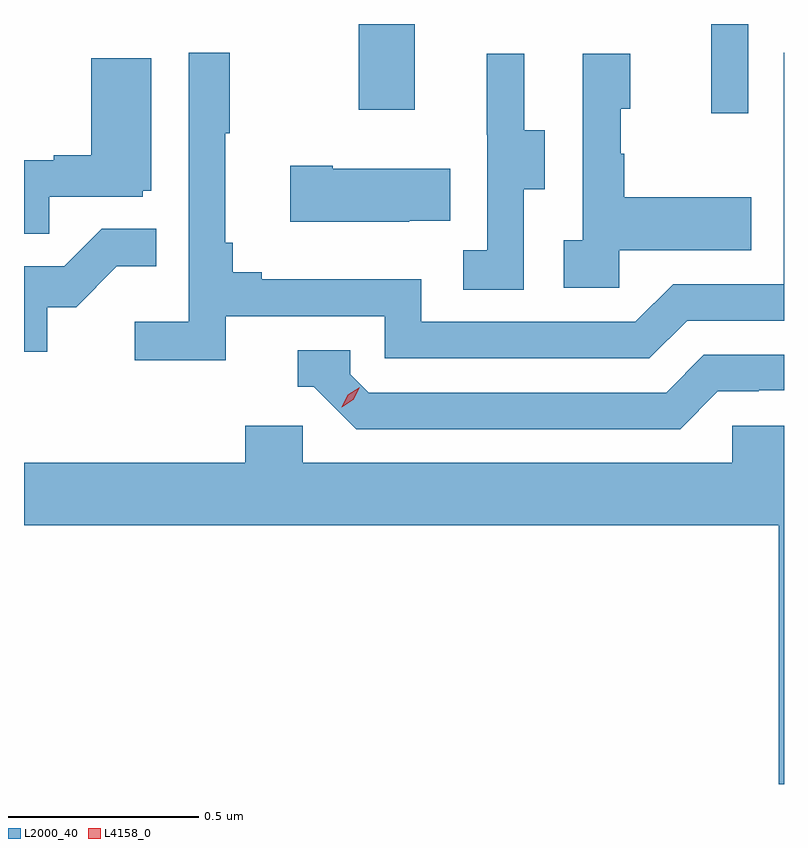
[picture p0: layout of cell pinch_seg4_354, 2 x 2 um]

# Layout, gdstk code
import gdstk
lib = gdstk.Library(unit=1e-6, precision=1e-09)
def R(c, l, rs):  # rectangles x0, y0, x1, y1
    for r in rs: c.add(gdstk.rectangle(r[:2], r[2:], *l))
def P(c, l, *ps):  # polygons
    for p in ps: c.add(gdstk.Polygon(p, *l))
L2000_40 = (2000, 40)
L4158_0 = (4158, 0)

pinch_seg4_354 = lib.new_cell('pinch_seg4_354')
R(pinch_seg4_354, L2000_40, [(1014.35,803.232,1014.447,803.467), (1013.422,803.241,1013.569,803.467)])
P(pinch_seg4_354, L2000_40, [(1013.072,802.698),(1013.49,802.698),(1013.49,802.587),(1014.187,802.587),(1014.286,802.686),(1014.541,802.686),(1014.541,803.391),(1014.54,803.391),(1014.54,802.782),(1014.249,802.782),(1014.15,802.683),(1013.586,802.683),(1013.586,802.795),(1013.167,802.795),(1013.167,802.814),(1013.09,802.814),(1013.09,802.891),(1013.071,802.891),(1013.071,803.179),(1013.083,803.179),(1013.083,803.392),(1012.974,803.392),(1012.974,802.684),(1012.833,802.684),(1012.833,802.582),(1013.072,802.582)],
  [(1014.108,802.871),(1014.455,802.871),(1014.455,803.011),(1014.121,803.011),(1014.121,803.126),(1014.111,803.126),(1014.111,803.244),(1014.136,803.244),(1014.136,803.389),(1014.012,803.389),(1014.012,802.898),(1013.961,802.898),(1013.961,802.773),(1014.108,802.773)],
  [(1013.856,803.032),(1013.911,803.032),(1013.911,803.187),(1013.857,803.187),(1013.857,803.389),(1013.759,803.389),(1013.759,803.175),(1013.76,803.175),(1013.76,802.871),(1013.697,802.871),(1013.697,802.768),(1013.856,802.768)],
  [(1012.607,803.013),(1012.854,803.013),(1012.854,803.028),(1012.876,803.028),(1012.876,803.377),(1012.718,803.377),(1012.718,803.122),(1012.619,803.122),(1012.619,803.109),(1012.541,803.109),(1012.541,802.915),(1012.607,802.915)],
  [(1013.555,802.949),(1013.663,802.949),(1013.663,803.086),(1013.353,803.086),(1013.353,803.094),(1013.241,803.094),(1013.241,802.946),(1013.555,802.946)],
  [(1012.602,802.722),(1012.678,802.722),(1012.785,802.829),(1012.889,802.829),(1012.889,802.928),(1012.745,802.928),(1012.647,802.83),(1012.541,802.83),(1012.541,802.605),(1012.602,802.605)],
  [(1014.367,802.5),(1014.474,802.5),(1014.474,802.503),(1014.541,802.503),(1014.541,802.596),(1014.33,802.596),(1014.231,802.497),(1013.448,802.497),(1013.4,802.545),(1013.4,802.608),(1013.261,802.608),(1013.261,802.512),(1013.304,802.512),(1013.415,802.401),(1014.268,802.401)],
  [(1014.541,802.41),(1014.405,802.41),(1014.405,802.312),(1013.274,802.312),(1013.274,802.41),(1013.123,802.41),(1013.123,802.312),(1012.541,802.312),(1012.541,802.148),(1014.527,802.148),(1014.527,801.467),(1014.541,801.467)])
P(pinch_seg4_354, L4158_0, [(1013.377,802.459),(1013.377,802.459),(1013.393,802.492),(1013.424,802.511),(1013.424,802.511),(1013.424,802.511),(1013.408,802.478),(1013.377,802.459)])

lib.write_gds('pinch_seg4_354.gds')
